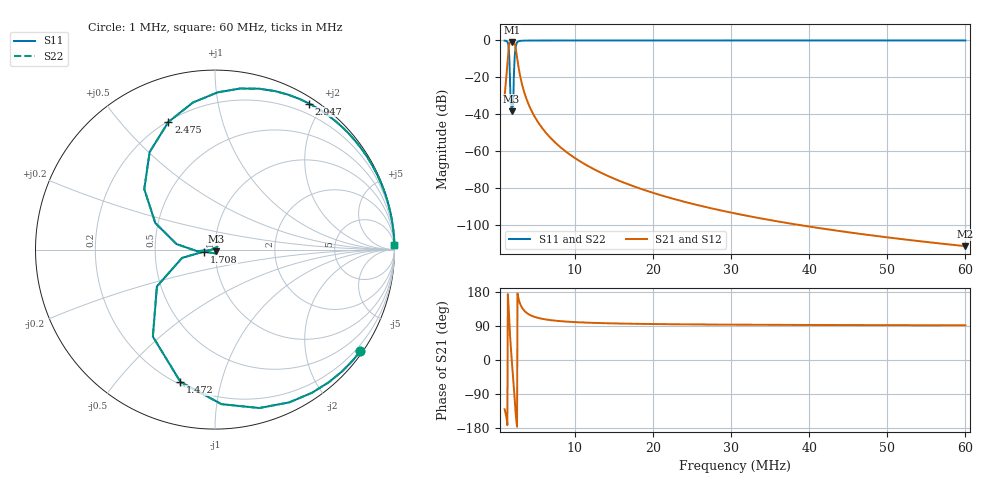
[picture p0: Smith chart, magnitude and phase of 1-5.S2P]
! 2-port S-parameter file Version 2.0 by Elsie 19/04/2023 08:44:34
[Version] 2.0
# MHz S DB R 50
[Number of Ports] 2
[Two-Port Data Order] 21_12
! Fstart: 1  Fstop: 60
[Reference]  50 50
! Freq:  S11 mag:  S11 angle:  S21 mag:  S21 angle:  S12 mag:  S12 angle:  S22 mag:  S22 angle:
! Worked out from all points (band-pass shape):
!   1001 points, 1 MHz to 60 MHz, reference 50 ohm
!   highest |S21| = -0.78 dB at 2.003 MHz (marker M1); lowest = -111.2 dB at 60 MHz (marker M2)
!   |S21| within 3 dB of the highest: 1.537 MHz to 2.405 MHz (867.5 kHz wide, 44 % of centre)
!   lowest |S11| = -38.4 dB at 1.885 MHz (marker M3), VSWR 1.02, Z = 50.7 - j1.02 ohm
!   |S11| at or under -10 dB: 1.606 MHz to 2.282 MHz (675.9 kHz wide, 34.8 % of centre)
!   |S22| runs from -38.4 to 0.0 dB; largest |S21 - S12| = 0
!   S11 on the Smith chart (normalised r, x): 1 MHz: 0.06, -3.17; 1.472 MHz: 0.21, -0.75; 1.708 MHz: 0.88, -0.02; 2.475 MHz: 0.20, +0.68; 2.947 MHz: 0.07, +1.83; 60 MHz: 0, +75
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[Number of Frequencies] 22
[Network Data]
1  -0.10 -35.0  -30.09 -130.0  -30.09 -130.0  -0.10 -35.0
1.295  -0.48 -64.1  -15.84 -160.9  -15.84 -160.9  -0.48 -64.1
1.472  -2.37 -104.7  -6.51 155.4  -6.51 155.4  -2.37 -104.7
1.708  -23.93 -170.0  -1.06 61.2  -1.06 61.2  -23.93 -170.0
1.885  -38.36 -56.9  -0.81 8.3  -0.81 8.3  -38.36 -56.9
2.003  -32.44 55.3  -0.78 -22.7  -0.78 -22.7  -32.44 55.3
2.121  -32.40 -174.7  -0.82 -53.6  -0.82 -53.6  -32.40 -174.7
2.239  -13.28 171.9  -1.18 -87.2  -1.18 -87.2  -13.28 171.9
2.475  -2.41 110.0  -5.66 -154.1  -5.66 -154.1  -2.41 110.0
2.711  -0.64 74.7  -12.56 168.8  -12.56 168.8  -0.64 74.7
2.947  -0.28 57.2  -18.30 150.4  -18.30 150.4  -0.28 57.2
3.36  -0.12 41.6  -25.78 133.9  -25.78 133.9  -0.12 41.6
3.95  -0.06 30.8  -33.28 122.4  -33.28 122.4  -0.06 30.8
5.484  -0.02 19.1  -45.46 110.1  -45.46 110.1  -0.02 19.1
7.785  -0.01 12.5  -56.36 103.2  -56.36 103.2  -0.01 12.5
10.853  -0.00 8.7  -65.83 99.1  -65.83 99.1  -0.00 8.7
17.992  -0.00 5.1  -79.53 95.4  -79.53 95.4  -0.00 5.1
20.706  -0.00 4.4  -83.26 94.7  -83.26 94.7  -0.00 4.4
30.5  -0.00 3.0  -93.48 93.2  -93.48 93.2  -0.00 3.0
40.353  -0.00 2.3  -100.81 92.4  -100.81 92.4  -0.00 2.3
50.206  -0.00 1.8  -106.53 91.9  -106.53 91.9  -0.00 1.8
60  -0.00 1.5  -111.18 91.6  -111.18 91.6  -0.00 1.5
[End]
